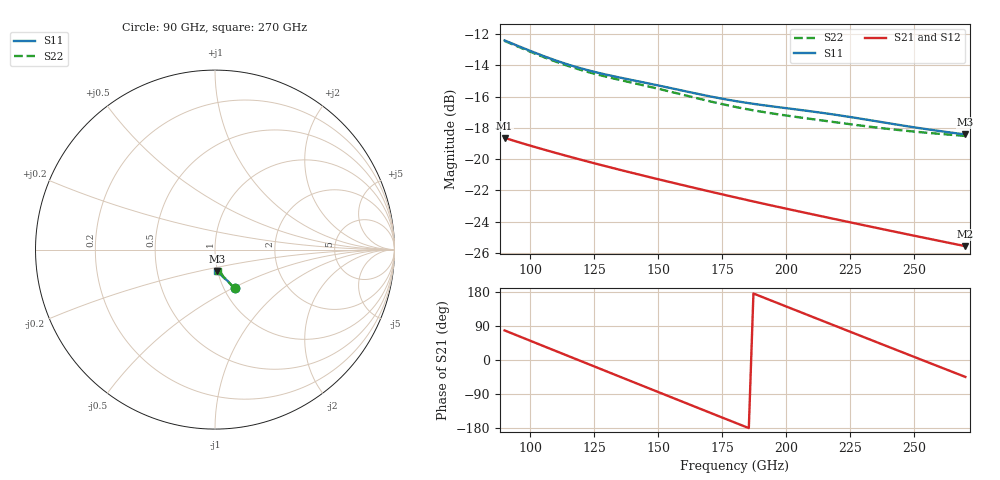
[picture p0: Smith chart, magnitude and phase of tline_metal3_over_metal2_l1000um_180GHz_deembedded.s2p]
! Created with skrf 2.2.0 (http://scikit-rf.org).
# GHz S DB R 50.0
! Port[1] = P1
! Port[2] = P2
!freq dBS11 angS11 dBS21 angS21 dBS12 angS12 dBS22 angS22
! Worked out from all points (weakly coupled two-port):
!   101 points, 90 GHz to 270 GHz, reference 50 ohm
!   highest |S21| = -18.64 dB at 90 GHz (marker M1); lowest = -25.6 dB at 270 GHz (marker M2)
!   lowest |S11| = -18.4 dB at 270 GHz (marker M3), VSWR 1.27, Z = 49.6 - j12 ohm
!   |S11| at or under -10 dB: start of sweep to end of sweep
!   |S22| runs from -18.5 to -12.4 dB; largest |S21 - S12| = 1.2e-13
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90  -12.41 -62.7  -18.64 78.0  -18.64 78.0  -12.44 -62.7
99  -13.01 -64.7  -19.09 53.6  -19.09 53.6  -13.06 -64.7
106.2  -13.47 -65.9  -19.43 34.0  -19.43 34.0  -13.53 -65.8
113.4  -13.88 -66.7  -19.76 14.5  -19.76 14.5  -13.96 -66.7
120.6  -14.23 -67.4  -20.08 -5.0  -20.08 -5.0  -14.33 -67.4
127.8  -14.53 -68.1  -20.39 -24.5  -20.39 -24.5  -14.65 -68.1
136.8  -14.84 -69.2  -20.76 -48.9  -20.76 -48.9  -15.00 -69.1
144  -15.09 -70.2  -21.05 -68.3  -21.05 -68.3  -15.27 -70.1
151.2  -15.33 -71.3  -21.34 -87.8  -21.34 -87.8  -15.55 -71.2
158.4  -15.58 -72.3  -21.62 -107.2  -21.62 -107.2  -15.83 -72.1
167.4  -15.89 -73.4  -21.97 -131.4  -21.97 -131.4  -16.20 -73.2
180  -16.28 -74.7  -22.45 -165.2  -22.45 -165.2  -16.66 -74.1
187.2  -16.47 -75.4  -22.72 175.5  -22.72 175.5  -16.88 -74.5
194.4  -16.63 -76.2  -22.98 156.2  -22.98 156.2  -17.08 -74.9
203.4  -16.81 -77.3  -23.30 132.2  -23.30 132.2  -17.29 -75.6
210.6  -16.97 -78.4  -23.55 112.9  -23.55 112.9  -17.45 -76.1
217.8  -17.13 -79.4  -23.80 93.7  -23.80 93.7  -17.61 -76.7
225  -17.31 -80.5  -24.05 74.5  -24.05 74.5  -17.77 -77.3
241.2  -17.74 -82.6  -24.61 31.5  -24.61 31.5  -18.09 -78.5
248.4  -17.93 -83.3  -24.85 12.4  -24.85 12.4  -18.22 -79.0
255.6  -18.11 -83.9  -25.10 -6.7  -25.10 -6.7  -18.33 -79.5
270  -18.43 -85.1  -25.58 -44.7  -25.58 -44.7  -18.52 -80.8
